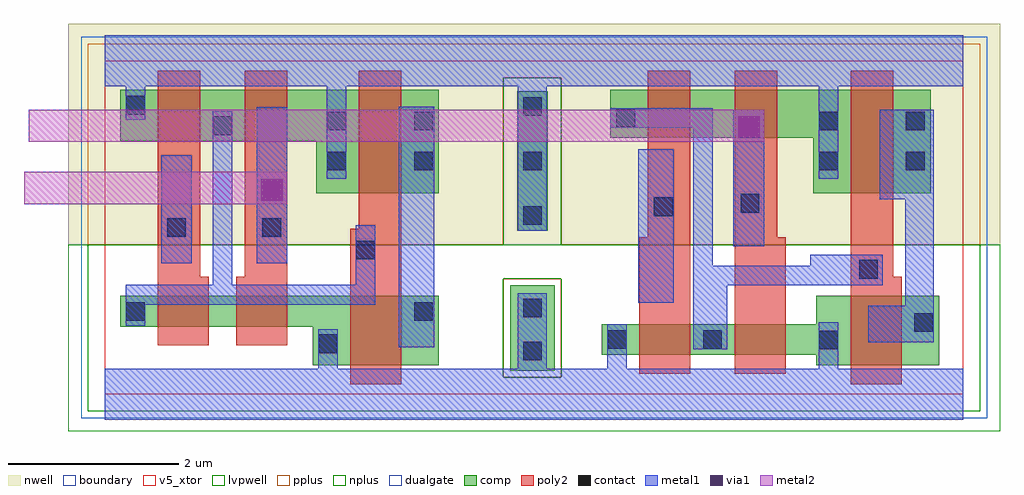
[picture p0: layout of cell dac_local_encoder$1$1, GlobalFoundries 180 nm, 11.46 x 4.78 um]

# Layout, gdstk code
import gdstk
lib = gdstk.Library(unit=1e-6, precision=5e-09)
def R(c, l, rs):  # rectangles x0, y0, x1, y1
    for r in rs: c.add(gdstk.rectangle(r[:2], r[2:], *l))
def A(c, l, x, y, w, h, nx, ny, dx, dy):  # array of equal rectangles
    R(c, l, [(x+i*dx, y+j*dy, x+i*dx+w, y+j*dy+h) for i in range(nx) for j in range(ny)])
def P(c, l, *ps):  # polygons
    for p in ps: c.add(gdstk.Polygon(p, *l))
boundary = (0, 0)
nwell = (21, 0)
comp = (22, 0)
poly2 = (30, 0)
pplus = (31, 0)
nplus = (32, 0)
contact = (33, 0)
metal1 = (34, 0)
via1 = (35, 0)
metal2 = (36, 0)
dualgate = (55, 0)
v5_xtor = (112, 1)
lvpwell = (204, 0)

gf180mcu_fd_sc_mcu7t5v0_ = lib.new_cell('gf180mcu_fd_sc_mcu7t5v0__and2_1$2')
R(gf180mcu_fd_sc_mcu7t5v0_, boundary, [(0,0,4.48,3.92)])
R(gf180mcu_fd_sc_mcu7t5v0_, nwell, [(-0.43,1.76,4.91,4.35)])
P(gf180mcu_fd_sc_mcu7t5v0_, comp, [(2.44,0.345),(2.44,0.795),(0.18,0.795),(0.18,1.16),(3.92,1.16),(3.92,0.345)],
  [(2.48,2.36),(2.48,2.975),(0.18,2.975),(0.18,3.575),(3.92,3.575),(3.92,2.36)])
P(gf180mcu_fd_sc_mcu7t5v0_, poly2, [(0.62,0.575),(0.62,3.8),(1.12,3.8),(1.12,1.38),(1.22,1.38),(1.22,0.575)],
  [(1.54,0.575),(1.54,1.38),(1.64,1.38),(1.64,3.8),(2.14,3.8),(2.14,0.575)],
  [(2.88,0.12),(2.88,1.945),(2.98,1.945),(2.98,3.8),(3.48,3.8),(3.48,0.12)])
R(gf180mcu_fd_sc_mcu7t5v0_, pplus, [(-0.2,1.76,4.68,4.12)])
R(gf180mcu_fd_sc_mcu7t5v0_, nplus, [(-0.2,-0.2,4.68,1.76)])
R(gf180mcu_fd_sc_mcu7t5v0_, contact, [(2.51,0.485,2.73,0.705), (0.25,0.865,0.47,1.085), (3.63,0.865,3.85,1.085), (2.95,1.585,3.17,1.805), (0.73,1.85,0.95,2.07), (1.85,1.85,2.07,2.07), (2.61,2.63,2.83,2.85), (3.63,2.63,3.85,2.85), (1.27,3.045,1.49,3.265), (2.61,3.1,2.83,3.32), (3.63,3.1,3.85,3.32), (0.25,3.285,0.47,3.505)])
R(gf180mcu_fd_sc_mcu7t5v0_, metal1, [(3.45,0.555,3.87,3.38), (0.66,1.54,1.02,2.81), (1.78,1.54,2.14,3.37)])
P(gf180mcu_fd_sc_mcu7t5v0_, metal1, [(0.245,0.805),(0.245,1.29),(1.265,1.29),(1.265,3.325),(1.495,3.325),(1.495,1.29),(2.945,1.29),(2.945,1.985),(3.175,1.985),(3.175,1.055),(0.475,1.055),(0.475,0.805)],
  [(0,-0.3),(0,0.3),(2.505,0.3),(2.505,0.765),(2.735,0.765),(2.735,0.3),(4.48,0.3),(4.48,-0.3)],
  [(2.605,2.53),(2.605,3.62),(0.475,3.62),(0.475,3.225),(0.245,3.225),(0.245,3.62),(0,3.62),(0,4.22),(4.48,4.22),(4.48,3.62),(2.835,3.62),(2.835,2.53)])
R(gf180mcu_fd_sc_mcu7t5v0_, dualgate, [(-0.28,-0.28,4.76,4.2)])
R(gf180mcu_fd_sc_mcu7t5v0_, v5_xtor, [(0,0,4.48,3.92)])
R(gf180mcu_fd_sc_mcu7t5v0_, lvpwell, [(-0.43,-0.43,4.91,1.76)])
gf180mcu_fd_sc_mcu7t5v0_.add(gdstk.Label('Z', (3.64,1.96), layer=34, texttype=10))
gf180mcu_fd_sc_mcu7t5v0_.add(gdstk.Label('A1', (0.84,1.96), layer=34, texttype=10))
gf180mcu_fd_sc_mcu7t5v0_.add(gdstk.Label('A2', (1.96,2.52), layer=34, texttype=10))

c_gf180mcu_fd_sc_mcu7t5v0_ = lib.new_cell('gf180mcu_fd_sc_mcu7t5v0__or2_1$2')
R(c_gf180mcu_fd_sc_mcu7t5v0_, boundary, [(0,0,4.48,3.92)])
R(c_gf180mcu_fd_sc_mcu7t5v0_, nwell, [(-0.43,1.76,4.91,4.35)])
P(c_gf180mcu_fd_sc_mcu7t5v0_, comp, [(2.715,2.36),(2.715,3.015),(0.335,3.015),(0.335,3.58),(4.095,3.58),(4.095,2.36)],
  [(2.755,0.34),(2.755,0.465),(0.235,0.465),(0.235,0.825),(2.755,0.825),(2.755,1.16),(4.195,1.16),(4.195,0.34)])
P(c_gf180mcu_fd_sc_mcu7t5v0_, poly2, [(0.675,0.24),(0.675,1.845),(0.775,1.845),(0.775,3.8),(1.275,3.8),(1.275,0.24)],
  [(1.795,0.24),(1.795,3.8),(2.295,3.8),(2.295,1.845),(2.395,1.845),(2.395,0.24)],
  [(3.155,0.12),(3.155,3.8),(3.655,3.8),(3.655,1.38),(3.755,1.38),(3.755,0.12)])
R(c_gf180mcu_fd_sc_mcu7t5v0_, pplus, [(-0.2,1.76,4.68,4.12)])
R(c_gf180mcu_fd_sc_mcu7t5v0_, nplus, [(-0.2,-0.2,4.68,1.76)])
R(c_gf180mcu_fd_sc_mcu7t5v0_, contact, [(2.785,0.53,3.005,0.75), (0.305,0.535,0.525,0.755), (1.425,0.535,1.645,0.755), (3.905,0.735,4.125,0.955), (3.255,1.36,3.475,1.58), (0.845,2.095,1.065,2.315), (1.865,2.135,2.085,2.355), (2.785,2.63,3.005,2.85), (3.805,2.63,4.025,2.85), (2.785,3.1,3.005,3.32), (3.805,3.1,4.025,3.32), (0.405,3.135,0.625,3.355)])
R(c_gf180mcu_fd_sc_mcu7t5v0_, metal1, [(0.66,1.075,1.08,2.88), (1.78,1.74,2.14,3.345)])
P(c_gf180mcu_fd_sc_mcu7t5v0_, metal1, [(1.31,0.53),(1.31,3.13),(0.335,3.13),(0.335,3.36),(1.54,3.36),(1.54,1.51),(2.68,1.51),(2.68,1.64),(3.535,1.64),(3.535,1.28),(1.705,1.28),(1.705,0.53)],
  [(3.365,0.61),(3.365,1.04),(3.8,1.04),(3.8,2.29),(3.5,2.29),(3.5,3.345),(4.13,3.345),(4.13,0.61)],
  [(0,-0.3),(0,0.3),(0.3,0.3),(0.3,0.825),(0.53,0.825),(0.53,0.3),(2.78,0.3),(2.78,0.85),(3.01,0.85),(3.01,0.3),(4.48,0.3),(4.48,-0.3)],
  [(2.78,2.53),(2.78,3.62),(0,3.62),(0,4.22),(4.48,4.22),(4.48,3.62),(3.01,3.62),(3.01,2.53)])
R(c_gf180mcu_fd_sc_mcu7t5v0_, dualgate, [(-0.28,-0.28,4.76,4.2)])
R(c_gf180mcu_fd_sc_mcu7t5v0_, v5_xtor, [(0,0,4.48,3.92)])
R(c_gf180mcu_fd_sc_mcu7t5v0_, lvpwell, [(-0.43,-0.43,4.91,1.76)])
c_gf180mcu_fd_sc_mcu7t5v0_.add(gdstk.Label('VDD', (2.24,3.925), layer=34, texttype=10))
c_gf180mcu_fd_sc_mcu7t5v0_.add(gdstk.Label('VSS', (2.24,-0.01), layer=34, texttype=10))
c_gf180mcu_fd_sc_mcu7t5v0_.add(gdstk.Label('Z', (3.64,2.52), layer=34, texttype=10))
c_gf180mcu_fd_sc_mcu7t5v0_.add(gdstk.Label('A1', (0.84,1.96), layer=34, texttype=10))
c_gf180mcu_fd_sc_mcu7t5v0_.add(gdstk.Label('A2', (1.96,2.52), layer=34, texttype=10))

c_gf180mcu_fd_sc_mcu7t5v0__ = lib.new_cell('gf180mcu_fd_sc_mcu7t5v0__endcap$5')
R(c_gf180mcu_fd_sc_mcu7t5v0__, boundary, [(0,0,1.12,3.92)])
R(c_gf180mcu_fd_sc_mcu7t5v0__, nwell, [(-0.43,1.76,1.55,4.35)])
R(c_gf180mcu_fd_sc_mcu7t5v0__, comp, [(0.28,0.28,0.8,1.28), (0.36,1.92,0.72,3.56)])
R(c_gf180mcu_fd_sc_mcu7t5v0__, pplus, [(0.2,0.2,0.88,1.36)])
P(c_gf180mcu_fd_sc_mcu7t5v0__, pplus, [(-0.2,1.76),(-0.2,4.12),(1.32,4.12),(1.32,1.76),(0.88,1.76),(0.88,3.72),(0.2,3.72),(0.2,1.76)])
P(c_gf180mcu_fd_sc_mcu7t5v0__, nplus, [(-0.2,-0.2),(-0.2,1.76),(0.2,1.76),(0.2,3.72),(0.88,3.72),(0.88,1.36),(0.2,1.36),(0.2,0.2),(0.88,0.2),(0.88,3.72),(0.88,1.76),(1.32,1.76),(1.32,-0.2)])
A(c_gf180mcu_fd_sc_mcu7t5v0__, contact, 0.43, 1.99, 0.22, 0.22, 1, 3, 0, 0.64)
R(c_gf180mcu_fd_sc_mcu7t5v0__, contact, [(0.43,0.4,0.65,0.62), (0.43,0.905,0.65,1.125)])
P(c_gf180mcu_fd_sc_mcu7t5v0__, metal1, [(0,-0.3),(0,0.3),(0.37,0.3),(0.37,1.19),(0.71,1.19),(0.71,0.3),(1.12,0.3),(1.12,-0.3)],
  [(0.37,1.92),(0.37,3.62),(0,3.62),(0,4.22),(1.12,4.22),(1.12,3.62),(0.71,3.62),(0.71,1.92)])
R(c_gf180mcu_fd_sc_mcu7t5v0__, dualgate, [(-0.28,-0.28,1.4,4.2)])
R(c_gf180mcu_fd_sc_mcu7t5v0__, v5_xtor, [(0,0,1.12,3.92)])
R(c_gf180mcu_fd_sc_mcu7t5v0__, lvpwell, [(-0.43,-0.43,1.55,1.76)])
c_gf180mcu_fd_sc_mcu7t5v0__.add(gdstk.Label('VSS', (0.56,-0.01), layer=34, texttype=10))
c_gf180mcu_fd_sc_mcu7t5v0__.add(gdstk.Label('VDD', (0.56,3.935), layer=34, texttype=10))

dac_local_encoder_1_1 = lib.new_cell('dac_local_encoder$1$1')
R(dac_local_encoder_1_1, via1, [(-2.445,-3.89,-2.185,-3.63), (3.16,-3.155,3.42,-2.895)])
R(dac_local_encoder_1_1, metal2, [(-5.225,-3.93,-2.135,-3.55)])
dac_local_encoder_1_1.add(gdstk.FlexPath([(3.465,-3.01),(-5.17,-3.01)], 0.38, ends="flush", simple_path=True, layer=36, datatype=0))  # metal2
dac_local_encoder_1_1.add(gdstk.Reference(gf180mcu_fd_sc_mcu7t5v0_, (-4.275,-6.165)))
dac_local_encoder_1_1.add(gdstk.Reference(c_gf180mcu_fd_sc_mcu7t5v0_, (1.325,-6.165)))
dac_local_encoder_1_1.add(gdstk.Reference(c_gf180mcu_fd_sc_mcu7t5v0__, (0.205,-6.165)))

lib.write_gds('dac_local_encoder_1_1.gds')
